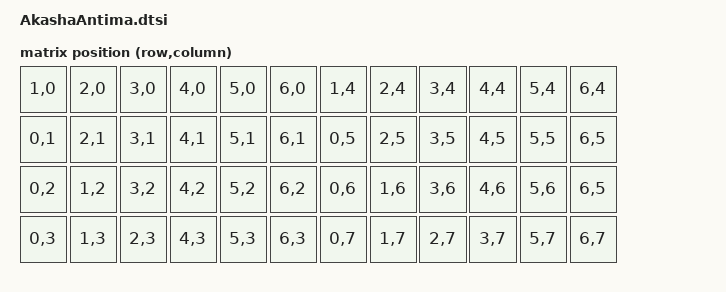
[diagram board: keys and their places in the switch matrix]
#include <dt-bindings/zmk/matrix_transform.h>
#include <physical_layouts.dtsi>
#include <behaviors/rgbled_widget.dtsi>

/ {
    chosen {
        zmk,physical-layout = &layout_Akasha;
        zephyr,display = &oled;
    };

    default_transform: keymap_transform_0 {
        compatible = "zmk,matrix-transform";
        rows = <7>;
        columns = <8>;

        map = <
            RC( 1, 0)  RC( 2, 0)  RC( 3, 0)  RC( 4, 0)  RC( 5, 0)  RC( 6, 0)     RC( 1, 4)  RC( 2, 4)  RC( 3, 4)  RC( 4, 4)  RC( 5, 4)  RC( 6, 4)
            RC( 0, 1)  RC( 2, 1)  RC( 3, 1)  RC( 4, 1)  RC( 5, 1)  RC( 6, 1)     RC( 0, 5)  RC( 2, 5)  RC( 3, 5)  RC( 4, 5)  RC( 5, 5)  RC( 6, 5)
            RC( 0, 2)  RC( 1, 2)  RC( 3, 2)  RC( 4, 2)  RC( 5, 2)  RC( 6, 2)     RC( 0, 6)  RC( 1, 6)  RC( 3, 6)  RC( 4, 6)  RC( 5, 6)  RC( 6, 5)
            RC( 0, 3)  RC( 1, 3)  RC( 2, 3)  RC( 4, 3)  RC( 5, 3)  RC( 6, 3)     RC( 0, 7)  RC( 1, 7)  RC( 2, 7)  RC( 3, 7)  RC( 5, 7)  RC( 6, 7)
        >;
    };

    layout_Akasha: layout_Akasha {
        compatible = "zmk,physical-layout";
        display-name = "AkashaAntima";
        transform = <&default_transform>;
        kscan = <&kscan0>;

        keys  //                     w   h    x    y     rot    rx    ry
            = <&key_physical_attrs 100 100    5   37    1500    50   163>
            , <&key_physical_attrs 100 100  122   18    1500   150   113>
            , <&key_physical_attrs 100 100  213   11    1500   250   163>
            , <&key_physical_attrs 100 100  321   11    1500   350   150>
            , <&key_physical_attrs 100 100  449   57    1500   487   106>
            , <&key_physical_attrs 100 100  536   78    1500   550   200>
            , <&key_physical_attrs 100 100 1098   93 (-1500)  1125   200>
            , <&key_physical_attrs 100 100 1205   58 (-1500)  1225   172>
            , <&key_physical_attrs 100 100 1293   21 (-1500)  1325    75>
            , <&key_physical_attrs 100 100 1402   13 (-1500)  1450    88>
            , <&key_physical_attrs 100 100 1507   13 (-1500)  1550    88>
            , <&key_physical_attrs 100 100 1612   26 (-1500)  1650    88>
            , <&key_physical_attrs 100 100    0  148     500    50   263>
            , <&key_physical_attrs 100 100  111  132     500   150   213>
            , <&key_physical_attrs 100 100  213  124     500   250   263>
            , <&key_physical_attrs 100 100  325  124     500   334   169>
            , <&key_physical_attrs 100 100  430  166     500   463   209>
            , <&key_physical_attrs 100 100  536  194     500   547   225>
            , <&key_physical_attrs 100 100 1103  195  (-500)  1150   249>
            , <&key_physical_attrs 100 100 1207  159  (-500)  1257   207>
            , <&key_physical_attrs 100 100 1310  126  (-500)  1335   168>
            , <&key_physical_attrs 100 100 1417  120  (-500)  1460   175>
            , <&key_physical_attrs 100 100 1522  121  (-500)  1550   188>
            , <&key_physical_attrs 100 100 1628  133  (-500)  1650   188>
            , <&key_physical_attrs 100 100    6  258  (-500)    60   306>
            , <&key_physical_attrs 100 100  115  244  (-500)   168   289>
            , <&key_physical_attrs 100 100  221  234  (-500)   278   283>
            , <&key_physical_attrs 100 100  324  237  (-500)   375   283>
            , <&key_physical_attrs 100 100  429  277  (-500)   480   324>
            , <&key_physical_attrs 100 100  534  307  (-500)   583   357>
            , <&key_physical_attrs 100 100 1104  301     500  1116   333>
            , <&key_physical_attrs 100 100 1207  266     500  1230   314>
            , <&key_physical_attrs 100 100 1312  230     500  1325   275>
            , <&key_physical_attrs 100 100 1415  228     500  1450   288>
            , <&key_physical_attrs 100 100 1520  227     500  1550   288>
            , <&key_physical_attrs 100 100 1628  237     500  1650   288>
            , <&key_physical_attrs 100 100   20  365 (-1000)    70   411>
            , <&key_physical_attrs 100 100  353  407  (-500)   425   450>
            , <&key_physical_attrs 100 100  470  414    1000   525   450>
            , <&key_physical_attrs 100 100  550  506 (-4000)   575   500>
            , <&key_physical_attrs 100 100  700  500       0     0     0>
            , <&key_physical_attrs 100 100  920  500       0     0     0>
            , <&key_physical_attrs 100 100 1075  502    4000  1150   500>
            , <&key_physical_attrs 100 100 1158  407 (-1000)  1225   475>
            , <&key_physical_attrs 100 100 1268  404     500  1300   450>
            , <&key_physical_attrs 100 100 1614  343    1000  1650   388>
            ;
    };

    position_map {
        compatible = "zmk,physical-layout-position-map";
        
        layout_Akasha {
            physical-layout = <&layout_Akasha>;
            positions = <>;
        };
    };

    aliases {
        led-red = &led0;
        led-green = &led1;
        led-blue = &led2;
    };

    leds {
        compatible = "gpio-leds";
        status = "okay";
        led0: led_0 {
            gpios = <&gpio0 26 GPIO_ACTIVE_LOW>;  // red LED, connected to P0.26
        };
        led1: led_1 {
            gpios = <&gpio0 30 GPIO_ACTIVE_LOW>;  // green LED, connected to P0.30
        };
        led2: led_2 {
            gpios = <&gpio0 6 GPIO_ACTIVE_LOW>;  // blue LED, connected to P0.06
        };
    };
};
    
